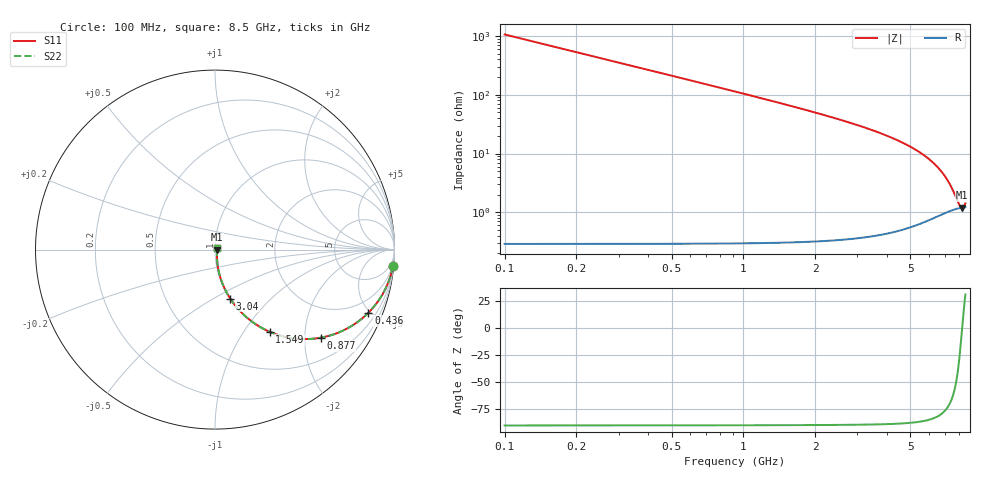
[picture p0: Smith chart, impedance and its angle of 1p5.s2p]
!Murata Part Number: GRM0335C1E1R5BA01
!These Parameters are Measured in Series Mode Connection
!  o--ll--o
!Port1  Port2
!  o------o
!Operation Temp=25[degC], DC Bias Voltage=0[V]
!Freq. Start=100[MHz] Stop=8.5[GHz], 401[Steps]
!Data Generated on Jan 10, 2017
# Hz S RI R 50
!Freq.(Hz) S11(Real) S11(Imag) S21(Real) S21(Imag) S12(Real) S12(Imag) S22(Real) S22(Imag)
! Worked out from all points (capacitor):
!   401 points, 100 MHz to 8.5 GHz, reference 50 ohm
!   read as one part in series: C = 1.5 pF near 142 MHz
!   lowest |Z| = 1.2 ohm at 8.227 GHz (marker M1)
!   series resonance near 8.238 GHz, so ESL is about 250 pH
!   S11 on the Smith chart (normalised r, x): 100 MHz: 1, -21; 436 MHz: 1.01, -4.85; 877 MHz: 1.01, -2.39; 1.549 GHz: 1.01, -1.32; 3.04 GHz: 1.01, -0.60; 8.5 GHz: 1.02, +0.01
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1e8  0.9912 -0.0934  0.00883 0.0934  0.00883 0.0934  0.9912 -0.0934
1.84e8  0.9707 -0.1684  0.0293 0.1684  0.0293 0.1684  0.9707 -0.1684
2.47e8  0.9484 -0.2209  0.0516 0.2209  0.0516 0.2209  0.9484 -0.2209
3.31e8  0.9108 -0.2845  0.0892 0.2845  0.0892 0.2845  0.9108 -0.2845
4.36e8  0.8545 -0.352  0.1455 0.352  0.1455 0.352  0.8545 -0.352
6.25e8  0.7397 -0.4379  0.2603 0.4379  0.2603 0.4379  0.7397 -0.4379
8.77e8  0.5882 -0.4909  0.4118 0.4909  0.4118 0.4909  0.5882 -0.4909
1.192e9  0.4315 -0.4936  0.5685 0.4936  0.5685 0.4936  0.4315 -0.4936
1.507e9  0.3167 -0.4629  0.6833 0.4629  0.6833 0.4629  0.3167 -0.4629
1.549e9  0.3041 -0.4577  0.6959 0.4577  0.6959 0.4577  0.3041 -0.4577
2.137e9  0.1775 -0.3786  0.8225 0.3786  0.8225 0.3786  0.1775 -0.3786
2.914e9  0.0938 -0.286  0.9062 0.286  0.9062 0.286  0.0938 -0.286
3.04e9  0.0851 -0.273  0.9149 0.273  0.9149 0.273  0.0851 -0.273
4.3e9  0.0345 -0.1698  0.9655 0.1698  0.9655 0.1698  0.0345 -0.1698
5.707e9  0.0152 -0.0911  0.9848 0.0911  0.9848 0.0911  0.0152 -0.0911
6.484e9  0.0118 -0.0577  0.9882 0.0577  0.9882 0.0577  0.0118 -0.0577
7.114e9  0.0111 -0.0345  0.9889 0.0345  0.9889 0.0345  0.0111 -0.0345
7.471e9  0.0112 -0.0227  0.9888 0.0227  0.9888 0.0227  0.0112 -0.0227
7.996e9  0.0117 -0.00681  0.9883 0.00681  0.9883 0.00681  0.0117 -0.00681
8.122e9  0.0118 -0.00323  0.9882 0.00323  0.9882 0.00323  0.0118 -0.00323
8.227e9  0.0119 -0.000302  0.9881 0.000302  0.9881 0.000302  0.0119 -0.000302
8.5e9  0.0121 0.00709  0.9879 -0.00709  0.9879 -0.00709  0.0121 0.00709
